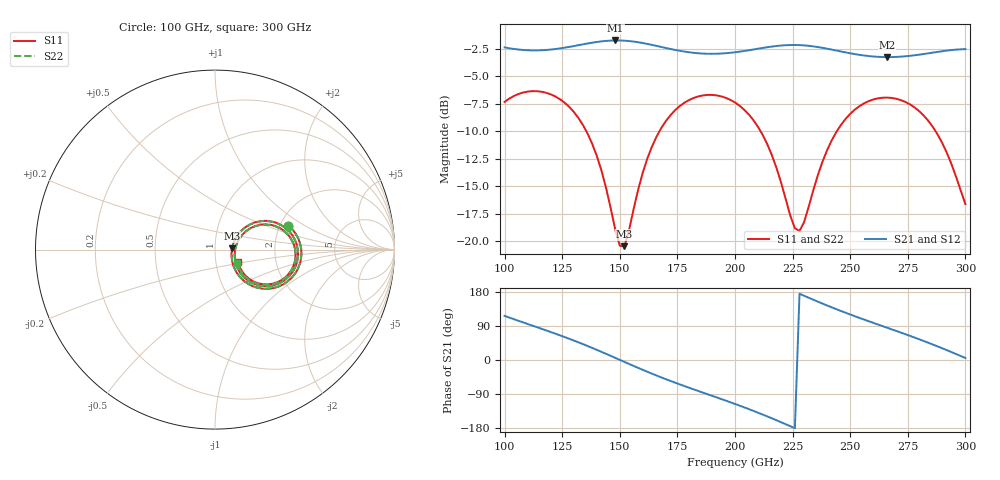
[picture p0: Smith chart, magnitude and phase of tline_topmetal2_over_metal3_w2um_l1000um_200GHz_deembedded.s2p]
! Created with skrf 2.2.0 (http://scikit-rf.org).
# GHz S DB R 50.0
! Port[1] = P1
! Port[2] = P2
!freq dBS11 angS11 dBS21 angS21 dBS12 angS12 dBS22 angS22
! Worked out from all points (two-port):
!   101 points, 100 GHz to 300 GHz, reference 50 ohm
!   highest |S21| = -1.72 dB at 148 GHz (marker M1); lowest = -3.2 dB at 266 GHz (marker M2)
!   |S21| within 3 dB of the highest: start of sweep to end of sweep
!   lowest |S11| = -20.4 dB at 152 GHz (marker M3), VSWR 1.21, Z = 60.5 + j0.945 ohm
!   |S11| at or under -10 dB: 135.5 GHz to 167.2 GHz (31.7 GHz wide, 20.9 % of centre); 211.1 GHz to 244.2 GHz (33.02 GHz wide, 14.5 % of centre); 287.1 GHz to end of sweep
!   |S22| runs from -20.4 to -6.3 dB; largest |S21 - S12| = 1.3e-13
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100  -7.31 18.1  -2.35 116.4  -2.35 116.4  -7.32 18.1
116  -6.39 -9.6  -2.61 82.4  -2.61 82.4  -6.39 -9.6
126  -7.38 -26.8  -2.38 60.7  -2.38 60.7  -7.38 -26.8
134  -9.42 -40.0  -2.08 41.9  -2.08 41.9  -9.42 -39.9
142  -13.54 -47.8  -1.81 21.6  -1.81 21.6  -13.53 -47.7
148  -18.90 -33.5  -1.72 5.7  -1.72 5.7  -18.85 -33.2
152  -20.44 4.7  -1.74 -5.0  -1.74 -5.0  -20.35 4.5
160  -13.73 36.5  -1.96 -26.1  -1.96 -26.1  -13.71 36.1
168  -9.70 29.3  -2.31 -45.9  -2.31 -45.9  -9.69 29.0
184  -6.82 3.7  -2.89 -81.6  -2.89 -81.6  -6.82 3.4
200  -7.37 -22.6  -2.80 -116.0  -2.80 -116.0  -7.36 -22.8
214  -11.16 -42.0  -2.34 -148.9  -2.34 -148.9  -11.16 -42.3
226  -18.82 -17.6  -2.13 -180.0  -2.13 -180.0  -18.82 -17.9
230  -18.25 13.0  -2.17 169.5  -2.17 169.5  -18.26 12.7
234  -15.34 28.4  -2.26 159.0  -2.26 159.0  -15.35 28.1
240  -11.70 30.4  -2.47 143.8  -2.47 143.8  -11.70 30.0
248  -8.86 21.4  -2.81 124.7  -2.81 124.7  -8.87 21.0
266  -6.92 -6.4  -3.24 85.2  -3.24 85.2  -6.93 -6.9
268  -6.95 -9.5  -3.23 81.0  -3.23 81.0  -6.96 -10.1
278  -7.83 -24.9  -3.07 59.1  -3.07 59.1  -7.84 -25.6
286  -9.63 -35.8  -2.82 40.5  -2.82 40.5  -9.66 -36.7
300  -16.61 -28.8  -2.51 5.3  -2.51 5.3  -16.85 -30.1
